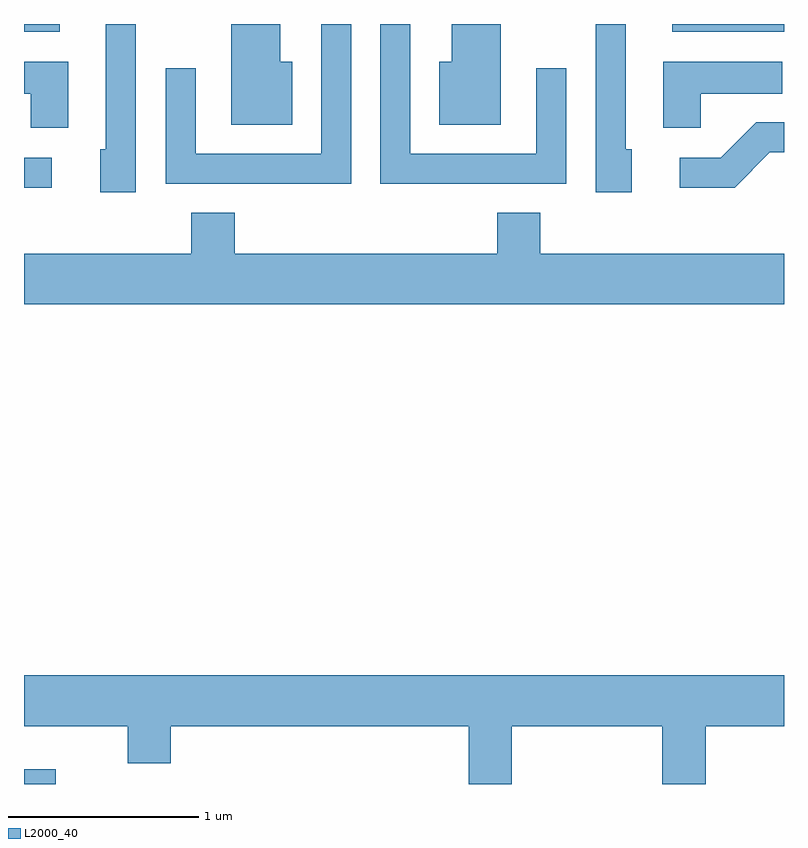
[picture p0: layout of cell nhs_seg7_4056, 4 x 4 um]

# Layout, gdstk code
import gdstk
lib = gdstk.Library(unit=1e-6, precision=1e-09)
def R(c, l, rs):  # rectangles x0, y0, x1, y1
    for r in rs: c.add(gdstk.rectangle(r[:2], r[2:], *l))
def P(c, l, *ps):  # polygons
    for p in ps: c.add(gdstk.Polygon(p, *l))
L2000_40 = (2000, 40)

nhs_seg7_4056 = lib.new_cell('nhs_seg7_4056')
R(nhs_seg7_4056, L2000_40, [(309.611,1696.252,309.779,1696.329), (309.611,1699.391,309.758,1699.549), (309.611,1700.211,309.798,1700.252), (313.023,1700.211,313.611,1700.252)])
P(nhs_seg7_4056, L2000_40, [(312.119,1700.252),(311.861,1700.252),(311.861,1700.054),(311.796,1700.054),(311.796,1699.721),(312.119,1699.721)],
  [(312.464,1700.018),(312.306,1700.018),(312.306,1699.569),(311.644,1699.569),(311.644,1700.252),(311.486,1700.252),(311.486,1699.411),(312.464,1699.411)],
  [(310.199,1700.252),(310.041,1700.252),(310.041,1699.594),(310.011,1699.594),(310.011,1699.366),(310.199,1699.366)],
  [(311.024,1700.054),(310.959,1700.054),(310.959,1700.252),(310.701,1700.252),(310.701,1699.721),(311.024,1699.721)],
  [(311.334,1700.252),(311.176,1700.252),(311.176,1699.569),(310.514,1699.569),(310.514,1700.018),(310.356,1700.018),(310.356,1699.411),(311.334,1699.411)],
  [(312.809,1699.594),(312.779,1699.594),(312.779,1700.252),(312.621,1700.252),(312.621,1699.366),(312.809,1699.366)],
  [(313.174,1699.886),(313.603,1699.886),(313.603,1700.054),(312.976,1700.054),(312.976,1699.706),(313.174,1699.706)],
  [(309.844,1700.054),(309.611,1700.054),(309.611,1699.886),(309.646,1699.886),(309.646,1699.706),(309.844,1699.706)],
  [(313.537,1699.576),(313.611,1699.576),(313.611,1699.734),(313.464,1699.734),(313.279,1699.549),(313.063,1699.549),(313.063,1699.391),(313.352,1699.391)],
  [(313.611,1699.044),(312.329,1699.044),(312.329,1699.259),(312.101,1699.259),(312.101,1699.044),(310.719,1699.044),(310.719,1699.259),(310.491,1699.259),(310.491,1699.044),(309.611,1699.044),(309.611,1698.776),(313.611,1698.776)],
  [(309.611,1696.556),(310.156,1696.556),(310.156,1696.361),(310.384,1696.361),(310.384,1696.556),(311.951,1696.556),(311.951,1696.252),(312.179,1696.252),(312.179,1696.556),(312.971,1696.556),(312.971,1696.252),(313.199,1696.252),(313.199,1696.556),(313.611,1696.556),(313.611,1696.824),(309.611,1696.824)])

lib.write_gds('nhs_seg7_4056.gds')
